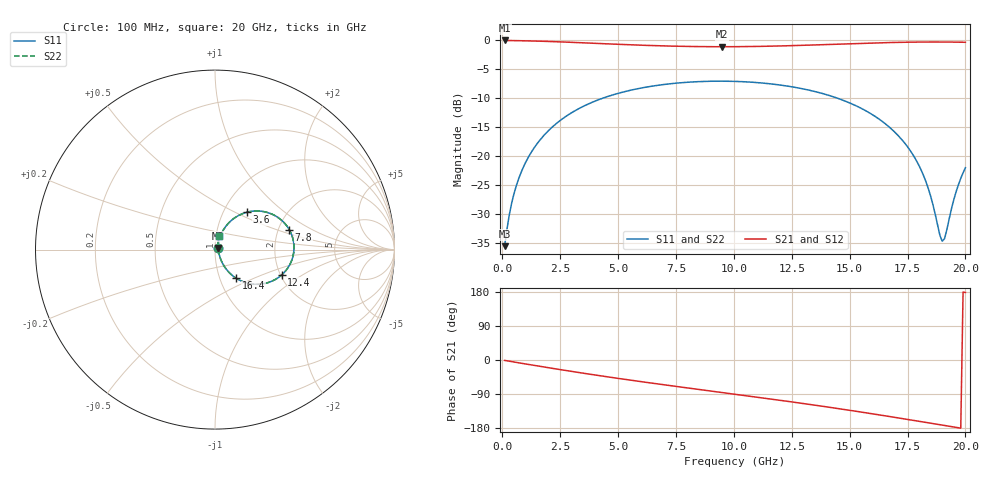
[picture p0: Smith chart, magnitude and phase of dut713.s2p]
! Touchstone file exported from HFSS 2026.1.0
!  File:  C:/ffzhzh/LocalFiles/Ansys_Project_Files/temp_train_TSV_RDL_713_1783200440_51560.aedt
!  Generated:  05:40:12 AM Jul  5, 2026
!  Design:  TSV_RDL
!  Project:  temp_train_TSV_RDL_713_1783200440_51560
! Variables:
!  h_bsmrdl = 5.84um
!  h_ox = 20um
!  h_rdl = 5um
!  h_sub = 86.86um
!  h_tmrdl = 3.49um
!  h_tsv = 86.86um
!  h_via = 3um
!  l_bsmrdl = 465.29um
!  l_sub = 2860.89um
!  l_tmrdl = 243.5um
!  m_sub = 200um
!  pitch = 36.97um
!  r_tsv = 8.07um
!  s_tmrdl = 10um
!  w_bsmrdl = 16.64um
!  w_sub = 500um
!  w_tmrdl = 13.7um
!  x_tsv_center1 = 250.35um
!  x_tsv_center2 = 732.28um
!  x_tsv_center3 = 989.48um
!  x_tsv_center4 = 1471.41um
!  x_tsv_center5 = 1728.61um
!  x_tsv_center6 = 2210.54um
# GHz S MA R 50.000000
! Terminal data exported
! Port[1] = TM_RDL1_1_T1
! Port[2] = TM_RDL5_1_T1
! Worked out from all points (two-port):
!   200 points, 100 MHz to 20 GHz, reference 50 ohm
!   highest |S21| = -0.12 dB at 100 MHz (marker M1); lowest = -1.2 dB at 9.5 GHz (marker M2)
!   |S21| within 3 dB of the highest: start of sweep to end of sweep
!   lowest |S11| = -35.5 dB at 100 MHz (marker M3), VSWR 1.03, Z = 51.4 + j0.929 ohm
!   |S11| at or under -10 dB: start of sweep to 4.371 GHz; 14.44 GHz to end of sweep
!   |S22| runs from -35.5 to -7.1 dB; largest |S21 - S12| = 3.3e-14
!   S11 on the Smith chart (normalised r, x): 100 MHz: 1.03, +0.02; 3.6 GHz: 1.29, +0.58; 7.8 GHz: 2.29, +0.62; 12.4 GHz: 2.03, -0.68; 16.4 GHz: 1.20, -0.40; 20 GHz: 1.04, +0.16
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0.1  0.01683 32.4  0.9859 -1.1  0.9859 -1.1  0.01683 32.4
! Gamma 0 0 0 0
! Port Impedance 50 0 50 0
0.3  0.03107 58.0  0.9847 -3.2  0.9847 -3.2  0.03107 58.0
0.5  0.04712 65.1  0.9831 -5.3  0.9831 -5.3  0.04712 65.1
1.1  0.09571 68.1  0.9778 -11.4  0.9778 -11.4  0.09571 68.1
2.1  0.1735 62.1  0.9652 -21.4  0.9652 -21.4  0.1735 62.1
3.5  0.2679 50.4  0.941 -34.9  0.941 -34.9  0.2679 50.4
3.6  0.2738 49.5  0.9392 -35.8  0.9392 -35.8  0.2738 49.5
6.8  0.4081 22.9  0.8871 -63.9  0.8871 -63.9  0.4081 22.9
7.8  0.4284 15.0  0.8774 -72.1  0.8774 -72.1  0.4284 15.0
9.5  0.4405 1.8  0.8709 -85.9  0.8709 -85.9  0.4405 1.9
10.1  0.4383 -2.8  0.8718 -90.7  0.8718 -90.7  0.4383 -2.8
12.4  0.3973 -20.9  0.8885 -109.7  0.8885 -109.7  0.3973 -20.8
13.4  0.3629 -28.9  0.9011 -118.3  0.9011 -118.3  0.3629 -28.9
16.4  0.1994 -53.4  0.9426 -146.0  0.9426 -146.0  0.1994 -53.4
16.7  0.1786 -55.6  0.9458 -148.9  0.9458 -148.9  0.1786 -55.6
17.5  0.1204 -60.4  0.9526 -156.8  0.9526 -156.8  0.1204 -60.4
18.1  0.07505 -60.8  0.9555 -162.8  0.9555 -162.8  0.07509 -60.8
18.5  0.04523 -54.9  0.9563 -166.8  0.9563 -166.8  0.04528 -54.8
19  0.01856 1.1  0.956 -171.8  0.956 -171.8  0.0186 1.0
19.1  0.01954 24.0  0.9558 -172.8  0.9558 -172.8  0.01956 23.9
19.6  0.04949 68.3  0.9537 -177.8  0.9537 -177.8  0.04947 68.3
20  0.07937 72.9  0.951 178.2  0.951 178.2  0.07933 72.9
